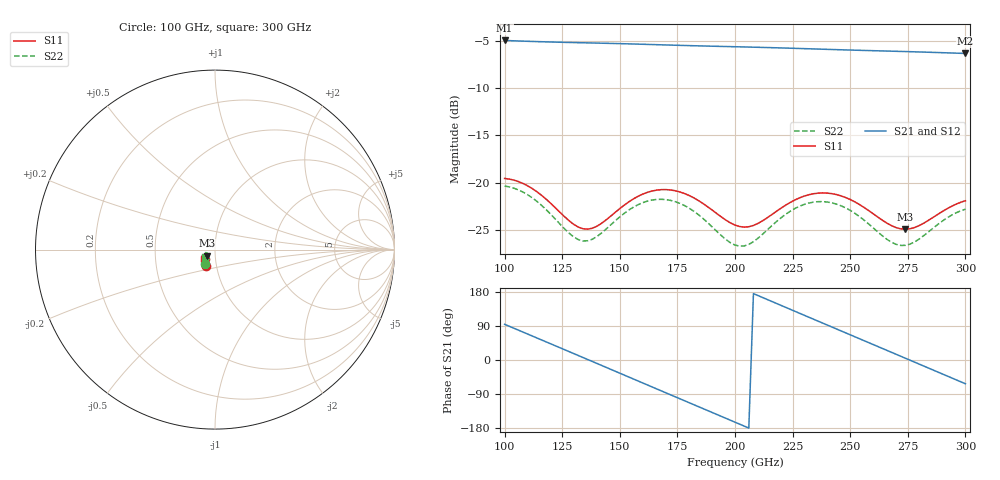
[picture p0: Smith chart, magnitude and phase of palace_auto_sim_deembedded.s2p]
! Created with skrf 1.11.0 (http://scikit-rf.org).
# GHz S DB R 50.0
!freq dBS11 angS11 dBS21 angS21 dBS12 angS12 dBS22 angS22
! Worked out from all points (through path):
!   101 points, 100 GHz to 300 GHz, reference 50 ohm
!   highest |S21| = -4.96 dB at 100 GHz (marker M1); lowest = -6.3 dB at 300 GHz (marker M2)
!   group delay of S21, straight-line fit = 7.18 ps
!   lowest |S11| = -24.9 dB at 274 GHz (marker M3), VSWR 1.12, Z = 45.5 - j3.06 ohm
!   |S11| at or under -10 dB: start of sweep to end of sweep
!   |S22| runs from -26.7 to -20.4 dB; largest |S21 - S12| = 6.5e-14
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100  -19.56 -119.1  -4.96 94.3  -4.96 94.3  -20.36 -123.6
108  -20.09 -130.3  -5.03 73.6  -5.03 73.6  -21.00 -135.0
116  -21.33 -138.8  -5.09 53.0  -5.09 53.0  -22.39 -143.7
126  -23.60 -140.7  -5.16 27.3  -5.16 27.3  -24.88 -144.8
134  -24.88 -131.5  -5.20 6.6  -5.20 6.6  -26.17 -133.9
142  -24.32 -120.2  -5.25 -14.1  -5.25 -14.1  -25.34 -122.1
150  -22.74 -117.3  -5.29 -34.8  -5.29 -34.8  -23.62 -120.5
160  -21.21 -123.8  -5.36 -60.7  -5.36 -60.7  -22.11 -128.7
168  -20.74 -132.3  -5.42 -81.4  -5.42 -81.4  -21.76 -138.4
182  -21.59 -146.4  -5.51 -117.6  -5.51 -117.6  -23.00 -153.8
192  -23.25 -149.7  -5.57 -143.4  -5.57 -143.4  -25.13 -156.3
200  -24.49 -144.2  -5.62 -164.1  -5.62 -164.1  -26.60 -147.3
206  -24.66 -136.6  -5.66 -179.6  -5.66 -179.6  -26.53 -136.8
216  -23.37 -128.5  -5.72 154.4  -5.72 154.4  -24.55 -128.5
226  -21.83 -131.1  -5.79 128.5  -5.79 128.5  -22.73 -133.7
234  -21.17 -137.7  -5.85 107.8  -5.85 107.8  -22.06 -142.1
242  -21.16 -145.4  -5.91 87.2  -5.91 87.2  -22.13 -151.3
250  -21.78 -152.1  -5.97 66.5  -5.97 66.5  -22.93 -159.1
268  -24.56 -150.9  -6.09 20.1  -6.09 20.1  -26.32 -156.5
274  -24.93 -143.7  -6.13 4.6  -6.13 4.6  -26.63 -147.2
286  -23.67 -133.2  -6.22 -26.5  -6.22 -26.5  -24.81 -135.9
300  -21.91 -137.6  -6.33 -62.7  -6.33 -62.7  -22.81 -143.0
